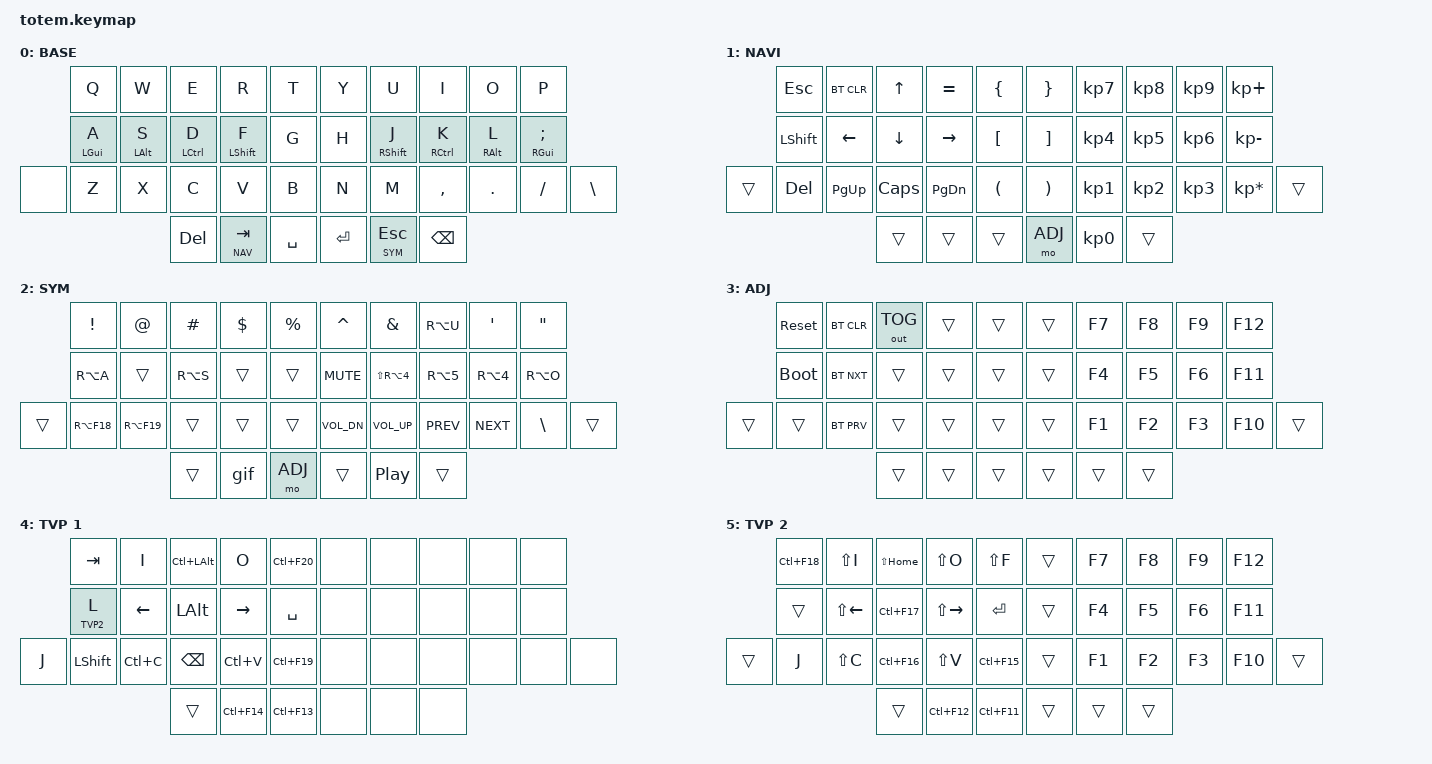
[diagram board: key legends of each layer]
//
//                                                        ▀▀▀▀▀     ▀▀▀▀▀          ▀▀█▀▀
//                                                        ▄▀▀▀▄  ▄  ▄▀▀▀▄  ▄  ▄▀▀▀▄  █  ▄▀▀▀▄
//                                                        █   █  █  █   █  █  █   █  █  █   █
//                                                         ▀▀▀   █   ▀▀▀   █   ▀▀▀   ▀   ▀▀▀
//                                                               █      ▄▄▄█▄▄▄    █   █  
//                                                               ▀      █  █  █     █▄█
//                                                             ▀▀▀▀▀    █  █  █      ▀
//                                                                      ▀  ▀  ▀
//
// ▄▄▄▄▄▄▄▄▄▄▄▄▄▄▄▄▄▄▄▄▄▄▄▄▄▄▄▄▄▄▄▄▄▄▄▄▄▄▄▄▄▄▄▄▄▄▄▄▄▄▄▄▄▄▄▄▄▄▄▄▄▄▄▄▄▄▄▄▄▄▄▄▄▄▄▄▄▄▄▄▄▄▄▄▄▄▄▄▄▄▄▄▄▄▄▄▄▄▄▄▄▄▄▄▄▄▄▄▄▄▄▄▄▄▄▄▄▄▄▄▄▄▄▄▄▄▄▄▄▄▄▄▄▄▄▄▄▄▄▄▄▄▄▄▄▄▄▄▄
       

#include <behaviors.dtsi>
#include <dt-bindings/zmk/keys.h>
#include <dt-bindings/zmk/bt.h>
#include <dt-bindings/zmk/outputs.h>

#define BASE 0
#define NAV  1
#define SYM  2
#define ADJ  3
#define TVP1 4
#define TVP2 5

&mt {                   // &mt - mod and tap; hold -> modifier, tap -> normal key
  quick-tap-ms = <100>;
  global-quick-tap;
  flavor = "tap-preferred";
  tapping-term-ms = <170>;              // zmk waits 170ms to determine whether it's a tap or a hold
};

/ {
     combos {
            compatible = "zmk,combos";
            combo_esc {
                timeout-ms = <50>;              // time window to press the combo keys
                key-positions = <0 1>;
                bindings = <&kp ESC>;
            };
            combo_tvp {
                timeout-ms = <100>;
                key-positions = <11 12 13>;
                bindings = <&tog TVP1>;         // toggle layer, switches the layer on and off
            };
    };

    macros {
        gif: gif {                      // the part befor the colon is the identifyer used to bind the defined behavior to a physical button
            label = "giphy";            // this specific macro is defined by the first author of the document it's a button that types "@gif"
            compatible = "zmk,behavior-macro";
            #binding-cells = <0>;
            bindings
                = <&macro_press &kp LSHFT>
                , <&macro_tap &kp N2>
                , <&macro_release &kp LSHFT>
                , <&macro_tap &kp G &kp I &kp F>
                ;
        };
    };

        keymap {
                compatible = "zmk,keymap";
// ▄▄▄▄▄▄▄▄▄▄▄▄▄▄▄▄▄▄▄▄▄▄▄▄▄▄▄▄▄▄▄▄▄▄▄▄▄▄▄▄▄▄▄▄▄▄▄▄▄▄▄▄▄▄▄▄▄▄▄▄▄▄▄▄▄▄▄▄▄▄▄▄▄▄▄▄▄▄▄▄▄▄▄▄▄▄▄▄▄▄▄▄▄▄▄▄▄▄▄▄▄▄▄▄▄▄▄▄▄▄▄▄▄▄▄▄▄▄▄▄▄▄▄▄▄▄▄▄▄▄▄▄▄▄▄▄▄▄▄▄▄▄▄▄▄▄▄▄▄

                base_layer {
// ┏━━━━━━━━━━━━━━━━━━━━━━━━━━━━━━━━━━━━━━━┓
label= "BASE"                              ;
// ┗━━━━━━━━━━━━━━━━━━━━━━━━━━━━━━━━━━━━━━━┛
//             ┏━━━━━━━━━━━┳━━━━━━━━━━━┳━━━━━━━━━━━┳━━━━━━━━━━━┳━━━━━━━━━━━┓   ┏━━━━━━━━━━━┳━━━━━━━━━━━┳━━━━━━━━━━━┳━━━━━━━━━━━┳━━━━━━━━━━━┓
//             ┃     Q     ┃     W     ┃     F     ┃     P     ┃     G     ┃   ┃     J     ┃     L     ┃     U     ┃     Y     ┃ ; (SEMI)  ┃
//             ┣━━━━━━━━━━━╋━━━━━━━━━━━╋━━━━━━━━━━━╋━━━━━━━━━━━╋━━━━━━━━━━━┫   ┣━━━━━━━━━━━╋━━━━━━━━━━━╋━━━━━━━━━━━╋━━━━━━━━━━━╋━━━━━━━━━━━┫
//             ┃     A     ┃     R     ┃     S     ┃     T     ┃     D     ┃   ┃     H     ┃     N     ┃     E     ┃     I     ┃     O     ┃
// ┏━━━━━━━━━━━╋━━━━━━━━━━━╋━━━━━━━━━━━╋━━━━━━━━━━━╋━━━━━━━━━━━╋━━━━━━━━━━━┫   ┣━━━━━━━━━━━╋━━━━━━━━━━━╋━━━━━━━━━━━╋━━━━━━━━━━━╋━━━━━━━━━━━╋━━━━━━━━━━━┓
// ┃     Q     ┃     Z     ┃     X     ┃     C     ┃     V     ┃     B     ┃   ┃     K     ┃     M     ┃     ,     ┃     .     ┃     /     ┃     \     ┃
// ┗━━━━━━━━━━━┻━━━━━━━━━━━┻━━━━━━━━━━━╋━━━━━━━━━━━╋━━━━━━━━━━━╋━━━━━━━━━━━┫   ┣━━━━━━━━━━━╋━━━━━━━━━━━╋━━━━━━━━━━━╋━━━━━━━━━━━┻━━━━━━━━━━━┻━━━━━━━━━━━┛
//                                     ┃    DEL    ┃    TAB    ┃    SPC    ┃   ┃   ENTER   ┃           ┃   BSPC    ┃
//                                     ┗━━━━━━━━━━━┻━━━━━━━━━━━┻━━━━━━━━━━━┛   ┗━━━━━━━━━━━┻━━━━━━━━━━━┻━━━━━━━━━━━┛
// &kp - key press
// &lt - layer tap =  tap the key, send KEY; hold the key, activate LAYER
// &trans - "transparent", this button does nothing, falls through tho the lower leyer
// &none - do nothing 
// &mo [LAYER_NAME] - momentary layer aka activate the layer while holding this button
// &tog [LAYER_NAME] - toggle layer
// just for the git hub workflow
 bindings = <
// ╷           ╷           ╷           ╷           ╷           ╷           ╷   ╷           ╷           ╷           ╷           ╷           ╷           ╷

                &kp Q       &kp W       &kp E       &kp R       &kp T           &kp Y       &kp U       &kp I       &kp O       &kp P
                &mt LGUI A  &mt LALT S  &mt LCTRL D &mt LSHFT F &kp G           &kp H       &mt RSHFT J &mt RCTRL K &mt RALT L  &mt RGUI SEMI
    &none       &kp Z       &kp X       &kp C       &kp V       &kp B           &kp N       &kp M       &kp COMMA   &kp DOT     &kp FSLH    &kp BSLH
                                        &kp DEL   &lt NAV TAB   &kp SPACE       &kp RET   &lt SYM ESC   &kp BSPC
                        >;
                };

// ▄▄▄▄▄▄▄▄▄▄▄▄▄▄▄▄▄▄▄▄▄▄▄▄▄▄▄▄▄▄▄▄▄▄▄▄▄▄▄▄▄▄▄▄▄▄▄▄▄▄▄▄▄▄▄▄▄▄▄▄▄▄▄▄▄▄▄▄▄▄▄▄▄▄▄▄▄▄▄▄▄▄▄▄▄▄▄▄▄▄▄▄▄▄▄▄▄▄▄▄▄▄▄▄▄▄▄▄▄▄▄▄▄▄▄▄▄▄▄▄▄▄▄▄▄▄▄▄▄▄▄▄▄▄▄▄▄▄▄▄▄▄▄▄▄▄▄▄▄


                nav_layer {
// ┏━━━━━━━━━━━━━━━━━━━━━━━━━━━━━━━━━━━━━━━┓
label= "NAVI"                              ;
// ┗━━━━━━━━━━━━━━━━━━━━━━━━━━━━━━━━━━━━━━━┛
//             ┏━━━━━━━━━━━┳━━━━━━━━━━━┳━━━━━━━━━━━┳━━━━━━━━━━━┳━━━━━━━━━━━┓   ┏━━━━━━━━━━━┳━━━━━━━━━━━┳━━━━━━━━━━━┳━━━━━━━━━━━┳━━━━━━━━━━━┓
//             ┃           ┃           ┃     UP    ┃           ┃     {     ┃   ┃     }     ┃     7     ┃     8     ┃     9     ┃     +     ┃
//             ┣━━━━━━━━━━━╋━━━━━━━━━━━╋━━━━━━━━━━━╋━━━━━━━━━━━╋━━━━━━━━━━━┫   ┣━━━━━━━━━━━╋━━━━━━━━━━━╋━━━━━━━━━━━╋━━━━━━━━━━━╋━━━━━━━━━━━┫
//             ┃   SHIFT   ┃   LEFT    ┃    DOWN   ┃   RIGHT   ┃     [     ┃   ┃     ]     ┃     4     ┃     5     ┃     6     ┃     -     ┃
// ┏━━━━━━━━━━━╋━━━━━━━━━━━╋━━━━━━━━━━━╋━━━━━━━━━━━╋━━━━━━━━━━━╋━━━━━━━━━━━┫   ┣━━━━━━━━━━━╋━━━━━━━━━━━╋━━━━━━━━━━━╋━━━━━━━━━━━╋━━━━━━━━━━━╋━━━━━━━━━━━┓
// ┃           ┃           ┃   P UP    ┃  C LOCK   ┃  P DOWN   ┃     (     ┃   ┃     )     ┃     1     ┃     2     ┃     3     ┃     *     ┃           ┃
// ┗━━━━━━━━━━━┻━━━━━━━━━━━┻━━━━━━━━━━━╋━━━━━━━━━━━╋━━━━━━━━━━━╋━━━━━━━━━━━┫   ┣━━━━━━━━━━━╋━━━━━━━━━━━╋━━━━━━━━━━━╋━━━━━━━━━━━┻━━━━━━━━━━━┻━━━━━━━━━━━┛
//                                     ┃           ┃    TAB    ┃    SPC    ┃   ┃    DEL    ┃     0     ┃           ┃
//                                     ┗━━━━━━━━━━━┻━━━━━━━━━━━┻━━━━━━━━━━━┛   ┗━━━━━━━━━━━┻━━━━━━━━━━━┻━━━━━━━━━━━┛
 bindings = <
// ╷           ╷           ╷           ╷           ╷           ╷           ╷   ╷           ╷           ╷           ╷           ╷           ╷           ╷

                &kp ESC     &bt BT_CLR  &kp UP      &kp EQUAL   &kp LBRC        &kp RBRC    &kp KP_N7   &kp KP_N8   &kp KP_N9   &kp KP_PLUS
                &kp LSHFT   &kp LEFT    &kp DOWN    &kp RIGHT   &kp LBKT        &kp RBKT    &kp KP_N4   &kp KP_N5   &kp KP_N6   &kp KP_MINUS
    &trans      &kp DEL     &kp PG_UP   &kp CAPS    &kp PG_DN   &kp LPAR        &kp RPAR    &kp KP_N1   &kp KP_N2   &kp KP_N3   &kp KP_MULTIPLY &trans      
                                        &trans      &trans      &trans          &mo ADJ     &kp KP_N0   &trans      
                        >;
                };

// ▄▄▄▄▄▄▄▄▄▄▄▄▄▄▄▄▄▄▄▄▄▄▄▄▄▄▄▄▄▄▄▄▄▄▄▄▄▄▄▄▄▄▄▄▄▄▄▄▄▄▄▄▄▄▄▄▄▄▄▄▄▄▄▄▄▄▄▄▄▄▄▄▄▄▄▄▄▄▄▄▄▄▄▄▄▄▄▄▄▄▄▄▄▄▄▄▄▄▄▄▄▄▄▄▄▄▄▄▄▄▄▄▄▄▄▄▄▄▄▄▄▄▄▄▄▄▄▄▄▄▄▄▄▄▄▄▄▄▄▄▄▄▄▄▄▄▄▄▄


                sim_layer {
// ┏━━━━━━━━━━━━━━━━━━━━━━━━━━━━━━━━━━━━━━━┓
label= "SYM"                               ;
// ┗━━━━━━━━━━━━━━━━━━━━━━━━━━━━━━━━━━━━━━━┛
//             ┏━━━━━━━━━━━┳━━━━━━━━━━━┳━━━━━━━━━━━┳━━━━━━━━━━━┳━━━━━━━━━━━┓   ┏━━━━━━━━━━━┳━━━━━━━━━━━┳━━━━━━━━━━━┳━━━━━━━━━━━┳━━━━━━━━━━━┓
//             ┃     !     ┃     @     ┃     #     ┃     $     ┃     %     ┃   ┃     ˆ     ┃     &     ┃     Ü     ┃     '     ┃     "     ┃
//             ┣━━━━━━━━━━━╋━━━━━━━━━━━╋━━━━━━━━━━━╋━━━━━━━━━━━╋━━━━━━━━━━━┫   ┣━━━━━━━━━━━╋━━━━━━━━━━━╋━━━━━━━━━━━╋━━━━━━━━━━━╋━━━━━━━━━━━┫
//             ┃     Ä     ┃           ┃    SZ     ┃           ┃           ┃   ┃   MUTE    ┃   YEN     ┃   EURO    ┃  POUND    ┃     Ö     ┃
// ┏━━━━━━━━━━━╋━━━━━━━━━━━╋━━━━━━━━━━━╋━━━━━━━━━━━╋━━━━━━━━━━━╋━━━━━━━━━━━┫   ┣━━━━━━━━━━━╋━━━━━━━━━━━╋━━━━━━━━━━━╋━━━━━━━━━━━╋━━━━━━━━━━━╋━━━━━━━━━━━┓
// ┃           ┃  EMAIL1   ┃  EMAIL2   ┃           ┃           ┃           ┃   ┃   VOL-    ┃   VOL+    ┃   LAST    ┃   NEXT    ┃     \     ┃           ┃
// ┗━━━━━━━━━━━┻━━━━━━━━━━━┻━━━━━━━━━━━╋━━━━━━━━━━━╋━━━━━━━━━━━╋━━━━━━━━━━━┫   ┣━━━━━━━━━━━╋━━━━━━━━━━━╋━━━━━━━━━━━╋━━━━━━━━━━━┻━━━━━━━━━━━┻━━━━━━━━━━━┛
//                                     ┃           ┃    GIF    ┃    ADJ    ┃   ┃           ┃           ┃           ┃
//                                     ┗━━━━━━━━━━━┻━━━━━━━━━━━┻━━━━━━━━━━━┛   ┗━━━━━━━━━━━┻━━━━━━━━━━━┻━━━━━━━━━━━┛
 bindings = <
// ╷           ╷           ╷           ╷           ╷           ╷           ╷   ╷           ╷           ╷           ╷           ╷           ╷           ╷

                &kp EXCL    &kp AT      &kp HASH    &kp DLLR    &kp PRCNT       &kp CARET   &kp AMPS    &kp RA(U)   &kp SQT     &kp DQT       
                &kp RA(A)   &trans      &kp RA(S)   &trans      &trans          &kp C_MUTE  &kp LS(RA(N4)) &kp RA(N5) &kp RA(N4)   &kp RA(O) 
    &trans      &kp RA(F18) &kp RA(F19) &trans      &trans      &trans          &kp C_VOL_DN &kp C_VOL_UP &kp C_PREV &kp C_NEXT  &kp BSLH   &trans         
                                        &trans      &gif        &mo ADJ         &trans      &kp C_PP    &trans      
                        >;
                };

// ▄▄▄▄▄▄▄▄▄▄▄▄▄▄▄▄▄▄▄▄▄▄▄▄▄▄▄▄▄▄▄▄▄▄▄▄▄▄▄▄▄▄▄▄▄▄▄▄▄▄▄▄▄▄▄▄▄▄▄▄▄▄▄▄▄▄▄▄▄▄▄▄▄▄▄▄▄▄▄▄▄▄▄▄▄▄▄▄▄▄▄▄▄▄▄▄▄▄▄▄▄▄▄▄▄▄▄▄▄▄▄▄▄▄▄▄▄▄▄▄▄▄▄▄▄▄▄▄▄▄▄▄▄▄▄▄▄▄▄▄▄▄▄▄▄▄▄▄▄


                adjust_layer {
// ┏━━━━━━━━━━━━━━━━━━━━━━━━━━━━━━━━━━━━━━━┓
label= "ADJ"                               ;
// ┗━━━━━━━━━━━━━━━━━━━━━━━━━━━━━━━━━━━━━━━┛
//             ┏━━━━━━━━━━━┳━━━━━━━━━━━┳━━━━━━━━━━━┳━━━━━━━━━━━┳━━━━━━━━━━━┓   ┏━━━━━━━━━━━┳━━━━━━━━━━━┳━━━━━━━━━━━┳━━━━━━━━━━━┳━━━━━━━━━━━┓
//             ┃   RESET   ┃ BT CLEAR  ┃  OUT TOG  ┃           ┃           ┃   ┃           ┃    F7     ┃    F8     ┃    F9     ┃    F12    ┃
//             ┣━━━━━━━━━━━╋━━━━━━━━━━━╋━━━━━━━━━━━╋━━━━━━━━━━━╋━━━━━━━━━━━┫   ┣━━━━━━━━━━━╋━━━━━━━━━━━╋━━━━━━━━━━━╋━━━━━━━━━━━╋━━━━━━━━━━━┫
//             ┃ BOOTLOAD  ┃ BT NEXT   ┃           ┃           ┃           ┃   ┃           ┃    F4     ┃    F5     ┃    F6     ┃    F11    ┃
// ┏━━━━━━━━━━━╋━━━━━━━━━━━╋━━━━━━━━━━━╋━━━━━━━━━━━╋━━━━━━━━━━━╋━━━━━━━━━━━┫   ┣━━━━━━━━━━━╋━━━━━━━━━━━╋━━━━━━━━━━━╋━━━━━━━━━━━╋━━━━━━━━━━━╋━━━━━━━━━━━┓
// ┃           ┃           ┃ BT PREV   ┃           ┃           ┃           ┃   ┃           ┃    F1     ┃    F2     ┃    F3     ┃    F10    ┃           ┃
// ┗━━━━━━━━━━━┻━━━━━━━━━━━┻━━━━━━━━━━━╋━━━━━━━━━━━╋━━━━━━━━━━━╋━━━━━━━━━━━┫   ┣━━━━━━━━━━━╋━━━━━━━━━━━╋━━━━━━━━━━━╋━━━━━━━━━━━┻━━━━━━━━━━━┻━━━━━━━━━━━┛
//                                     ┃           ┃           ┃           ┃   ┃           ┃           ┃           ┃
//                                     ┗━━━━━━━━━━━┻━━━━━━━━━━━┻━━━━━━━━━━━┛   ┗━━━━━━━━━━━┻━━━━━━━━━━━┻━━━━━━━━━━━┛
 bindings = <
// ╷           ╷           ╷           ╷           ╷           ╷           ╷   ╷           ╷           ╷           ╷           ╷           ╷           ╷

                &sys_reset  &bt BT_CLR &out OUT_TOG &trans      &trans          &trans      &kp F7      &kp F8      &kp F9      &kp F12
                &bootloader &bt BT_NXT  &trans      &trans      &trans          &trans      &kp F4      &kp F5      &kp F6      &kp F11  
    &trans      &trans      &bt BT_PRV  &trans      &trans      &trans          &trans      &kp F1      &kp F2      &kp F3      &kp F10     &trans         
                                        &trans      &trans      &trans          &trans      &trans      &trans      
                        >;
                };

// ▄▄▄▄▄▄▄▄▄▄▄▄▄▄▄▄▄▄▄▄▄▄▄▄▄▄▄▄▄▄▄▄▄▄▄▄▄▄▄▄▄▄▄▄▄▄▄▄▄▄▄▄▄▄▄▄▄▄▄▄▄▄▄▄▄▄▄▄▄▄▄▄▄▄▄▄▄▄▄▄▄▄▄▄▄▄▄▄▄▄▄▄▄▄▄▄▄▄▄▄▄▄▄▄▄▄▄▄▄▄▄▄▄▄▄▄▄▄▄▄▄▄▄▄▄▄▄▄▄▄▄▄▄▄▄▄▄▄▄▄▄▄▄▄▄▄▄▄▄


                tvp1_layer {
// ┏━━━━━━━━━━━━━━━━━━━━━━━━━━━━━━━━━━━━━━━┓
label= "TVP 1"                             ;
// ┗━━━━━━━━━━━━━━━━━━━━━━━━━━━━━━━━━━━━━━━┛
//             ┏━━━━━━━━━━━┳━━━━━━━━━━━┳━━━━━━━━━━━┳━━━━━━━━━━━┳━━━━━━━━━━━┓   ┏━━━━━━━━━━━┳━━━━━━━━━━━┳━━━━━━━━━━━┳━━━━━━━━━━━┳━━━━━━━━━━━┓
//             ┃ NEXT FILE ┃ MARK IN   ┃ ROTATE    ┃ MARK OUT  ┃ SHOW SNAP ┃   ┃           ┃           ┃           ┃           ┃           ┃
//             ┣━━━━━━━━━━━╋━━━━━━━━━━━╋━━━━━━━━━━━╋━━━━━━━━━━━╋━━━━━━━━━━━┫   ┣━━━━━━━━━━━╋━━━━━━━━━━━╋━━━━━━━━━━━╋━━━━━━━━━━━╋━━━━━━━━━━━┫
//             ┃ TVP II    ┃ LEFT      ┃ PAN       ┃ RIGHT     ┃ PLAY/FLIP ┃   ┃           ┃           ┃           ┃           ┃           ┃
// ┏━━━━━━━━━━━╋━━━━━━━━━━━╋━━━━━━━━━━━╋━━━━━━━━━━━╋━━━━━━━━━━━╋━━━━━━━━━━━┫   ┣━━━━━━━━━━━╋━━━━━━━━━━━╋━━━━━━━━━━━╋━━━━━━━━━━━╋━━━━━━━━━━━╋━━━━━━━━━━━┓
// ┃ FULLSCR   ┃ SHIFT     ┃ COPY      ┃ DELETE    ┃ PASTE     ┃ IMG MARK  ┃   ┃           ┃           ┃           ┃           ┃           ┃           ┃
// ┗━━━━━━━━━━━┻━━━━━━━━━━━┻━━━━━━━━━━━╋━━━━━━━━━━━╋━━━━━━━━━━━╋━━━━━━━━━━━┫   ┣━━━━━━━━━━━╋━━━━━━━━━━━╋━━━━━━━━━━━╋━━━━━━━━━━━┻━━━━━━━━━━━┻━━━━━━━━━━━┛
//                                     ┃           ┃ UNDO/SAVE ┃  SEL/MOV  ┃   ┃           ┃           ┃           ┃
//                                     ┗━━━━━━━━━━━┻━━━━━━━━━━━┻━━━━━━━━━━━┛   ┗━━━━━━━━━━━┻━━━━━━━━━━━┻━━━━━━━━━━━┛
 bindings = <
// ╷           ╷           ╷           ╷           ╷           ╷           ╷   ╷           ╷           ╷           ╷           ╷           ╷           ╷

                &kp TAB     &kp I       &kp LC(LALT) &kp O      &kp LC(F20)     &none       &none       &none       &none       &none
                &lt TVP2 L  &kp LEFT    &kp LALT    &kp RIGHT   &kp SPACE       &none       &none       &none       &none       &none
    &kp J       &kp LSHFT   &kp LC(C)   &kp BSPC    &kp LC(V)   &kp LC(F19)     &none       &none       &none       &none       &none       &none        
                                        &trans      &kp LC(F14) &kp LC(F13)     &none       &none       &none    
                        >;
                };

// ▄▄▄▄▄▄▄▄▄▄▄▄▄▄▄▄▄▄▄▄▄▄▄▄▄▄▄▄▄▄▄▄▄▄▄▄▄▄▄▄▄▄▄▄▄▄▄▄▄▄▄▄▄▄▄▄▄▄▄▄▄▄▄▄▄▄▄▄▄▄▄▄▄▄▄▄▄▄▄▄▄▄▄▄▄▄▄▄▄▄▄▄▄▄▄▄▄▄▄▄▄▄▄▄▄▄▄▄▄▄▄▄▄▄▄▄▄▄▄▄▄▄▄▄▄▄▄▄▄▄▄▄▄▄▄▄▄▄▄▄▄▄▄▄▄▄▄▄▄


                tvp2_layer {
// ┏━━━━━━━━━━━━━━━━━━━━━━━━━━━━━━━━━━━━━━━┓
label= "TVP 2"                             ;
// ┗━━━━━━━━━━━━━━━━━━━━━━━━━━━━━━━━━━━━━━━┛
//             ┏━━━━━━━━━━━┳━━━━━━━━━━━┳━━━━━━━━━━━┳━━━━━━━━━━━┳━━━━━━━━━━━┓   ┏━━━━━━━━━━━┳━━━━━━━━━━━┳━━━━━━━━━━━┳━━━━━━━━━━━┳━━━━━━━━━━━┓
//             ┃ SOLO      ┃ TOGGLE IN ┃ RESET ROT ┃ TOGGLE OUT┃ TAKE SNAP ┃   ┃           ┃           ┃           ┃           ┃           ┃
//             ┣━━━━━━━━━━━╋━━━━━━━━━━━╋━━━━━━━━━━━╋━━━━━━━━━━━╋━━━━━━━━━━━┫   ┣━━━━━━━━━━━╋━━━━━━━━━━━╋━━━━━━━━━━━╋━━━━━━━━━━━╋━━━━━━━━━━━┫
//             ┃ ---       ┃ LAST KEY  ┃ NEW KEY   ┃ NEXT KEY  ┃ ENTER     ┃   ┃           ┃           ┃           ┃           ┃           ┃
// ┏━━━━━━━━━━━╋━━━━━━━━━━━╋━━━━━━━━━━━╋━━━━━━━━━━━╋━━━━━━━━━━━╋━━━━━━━━━━━┫   ┣━━━━━━━━━━━╋━━━━━━━━━━━╋━━━━━━━━━━━╋━━━━━━━━━━━╋━━━━━━━━━━━╋━━━━━━━━━━━┓
// ┃           ┃ FULLSCR   ┃ CPY2BRUSH ┃ DEL HEAD  ┃ PSTinPLACE┃ BOOK MARK ┃   ┃           ┃           ┃           ┃           ┃           ┃           ┃
// ┗━━━━━━━━━━━┻━━━━━━━━━━━┻━━━━━━━━━━━╋━━━━━━━━━━━╋━━━━━━━━━━━╋━━━━━━━━━━━┫   ┣━━━━━━━━━━━╋━━━━━━━━━━━╋━━━━━━━━━━━╋━━━━━━━━━━━┻━━━━━━━━━━━┻━━━━━━━━━━━┛
//                                     ┃           ┃ REDO/SAV1 ┃TRANS/WARP ┃   ┃           ┃           ┃           ┃
//                                     ┗━━━━━━━━━━━┻━━━━━━━━━━━┻━━━━━━━━━━━┛   ┗━━━━━━━━━━━┻━━━━━━━━━━━┻━━━━━━━━━━━┛
 bindings = <
// ╷           ╷           ╷           ╷           ╷           ╷           ╷   ╷           ╷           ╷           ╷           ╷           ╷           ╷

                &kp LC(F18) &kp LS(I)  &kp LS(HOME) &kp LS(O)   &kp LS(F)       &trans      &kp F7      &kp F8      &kp F9      &kp F12
                &trans      &kp LS(LEFT) &kp LC(F17) &kp LS(RIGHT) &kp RET      &trans      &kp F4      &kp F5      &kp F6      &kp F11  
    &trans      &kp J       &kp LS(C)   &kp LC(F16) &kp LS(V)   &kp LC(F15)     &trans      &kp F1      &kp F2      &kp F3      &kp F10     &trans         
                                        &trans      &kp LC(F12) &kp LC(F11)     &trans      &trans      &trans      
                        >;
                };
        };
};
